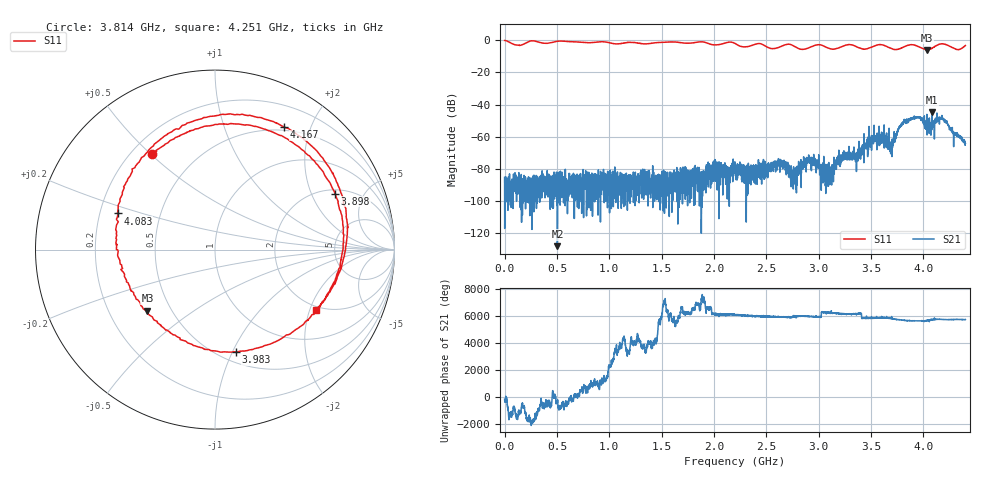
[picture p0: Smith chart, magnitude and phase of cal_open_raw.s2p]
!Created with skrf (http://scikit-rf.org).
# Hz S RI R 50.0
!freq ReS11 ImS11 ReS21 ImS21 ReS12 ImS12 ReS22 ImS22
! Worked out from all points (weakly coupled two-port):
!   4400 points, 1 MHz to 4.4 GHz, reference 50 ohm
!   highest |S21| = -44.63 dB at 4.08 GHz (marker M1); lowest = -128.5 dB at 505 MHz (marker M2)
!   lowest |S11| = -5.9 dB at 4.032 GHz (marker M3), VSWR 3.06, Z = 18.5 - j16.9 ohm
!   |S11| at or under -10 dB: nowhere
!   S12 and S22 are empty: the file has one direction only
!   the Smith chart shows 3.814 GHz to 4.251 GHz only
!   S11 on the Smith chart (normalised r, x): 3.814 GHz: 0.28, +0.51; 3.898 GHz: 2.21, +3.02; 3.983 GHz: 0.60, -1.03; 4.083 GHz: 0.28, +0.17; 4.167 GHz: 0.46, +1.62; 4.251 GHz: 1.87, -2.21
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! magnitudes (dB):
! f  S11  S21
! 1 MHz  0.0  -85.5
! 505 MHz  -0.5  -128.5
! 735 MHz  -1.1  -98.9
! 1.468 GHz  -1.3  -88.0
! 2.201 GHz  -1.9  -79.3
! 2.629 GHz  -4.0  -82.3
! 2.784 GHz  -4.3  -92.8
! 2.934 GHz  -3.8  -75.1
! 3.12 GHz  -5.4  -85.2
! 3.38 GHz  -4.5  -72.2
! 3.497 GHz  -4.4  -60.7
! 3.667 GHz  -4.3  -63.0
! 3.705 GHz  -5.3  -66.2
! 3.814 GHz  -3.9  -50.0
! 3.898 GHz  -2.6  -48.3
! 3.983 GHz  -4.7  -49.4
! 4.032 GHz  -5.9  -46.1
! 4.08 GHz  -5.0  -44.6
! 4.083 GHz  -4.8  -51.9
! 4.167 GHz  -2.1  -48.5
! 4.251 GHz  -3.7  -54.5
! 4.4 GHz  -3.2  -64.3
